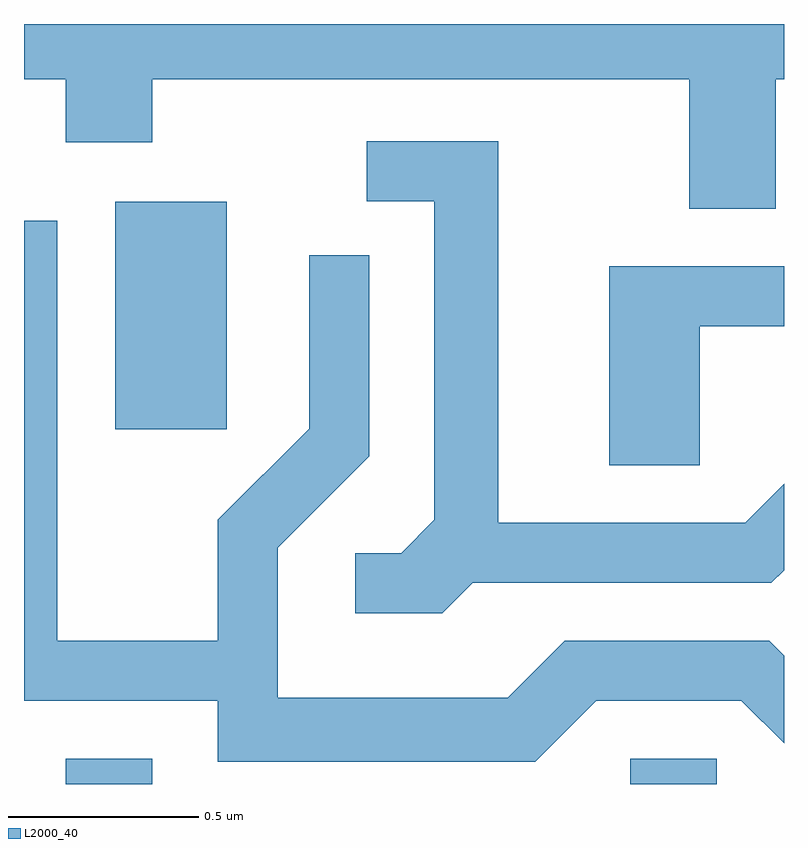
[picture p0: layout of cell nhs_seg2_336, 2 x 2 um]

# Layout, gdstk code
import gdstk
lib = gdstk.Library(unit=1e-6, precision=1e-09)
def R(c, l, rs):  # rectangles x0, y0, x1, y1
    for r in rs: c.add(gdstk.rectangle(r[:2], r[2:], *l))
def P(c, l, *ps):  # polygons
    for p in ps: c.add(gdstk.Polygon(p, *l))
L2000_40 = (2000, 40)

nhs_seg2_336 = lib.new_cell('nhs_seg2_336')
R(nhs_seg2_336, L2000_40, [(187.721,1039.802,187.949,1039.869), (189.206,1039.802,189.434,1039.869), (187.851,1040.736,188.144,1041.334)])
P(nhs_seg2_336, L2000_40, [(189.589,1041.656),(189.611,1041.656),(189.611,1041.802),(187.611,1041.802),(187.611,1041.656),(187.721,1041.656),(187.721,1041.491),(187.949,1041.491),(187.949,1041.656),(189.361,1041.656),(189.361,1041.316),(189.589,1041.316)],
  [(188.792,1040.331),(189.577,1040.331),(189.611,1040.365),(189.611,1040.592),(189.509,1040.489),(188.859,1040.489),(188.859,1041.494),(188.513,1041.494),(188.513,1041.336),(188.691,1041.336),(188.691,1040.497),(188.604,1040.409),(188.483,1040.409),(188.483,1040.251),(188.712,1040.251)],
  [(189.117,1040.021),(189.499,1040.021),(189.611,1039.909),(189.611,1040.14),(189.572,1040.179),(189.034,1040.179),(188.884,1040.029),(188.279,1040.029),(188.279,1040.424),(188.519,1040.664),(188.519,1041.193),(188.361,1041.193),(188.361,1040.737),(188.121,1040.497),(188.121,1040.179),(187.699,1040.179),(187.699,1041.284),(187.611,1041.284),(187.611,1040.021),(188.121,1040.021),(188.121,1039.861),(188.957,1039.861)],
  [(189.389,1041.006),(189.611,1041.006),(189.611,1041.164),(189.151,1041.164),(189.151,1040.641),(189.389,1040.641)])

lib.write_gds('nhs_seg2_336.gds')
